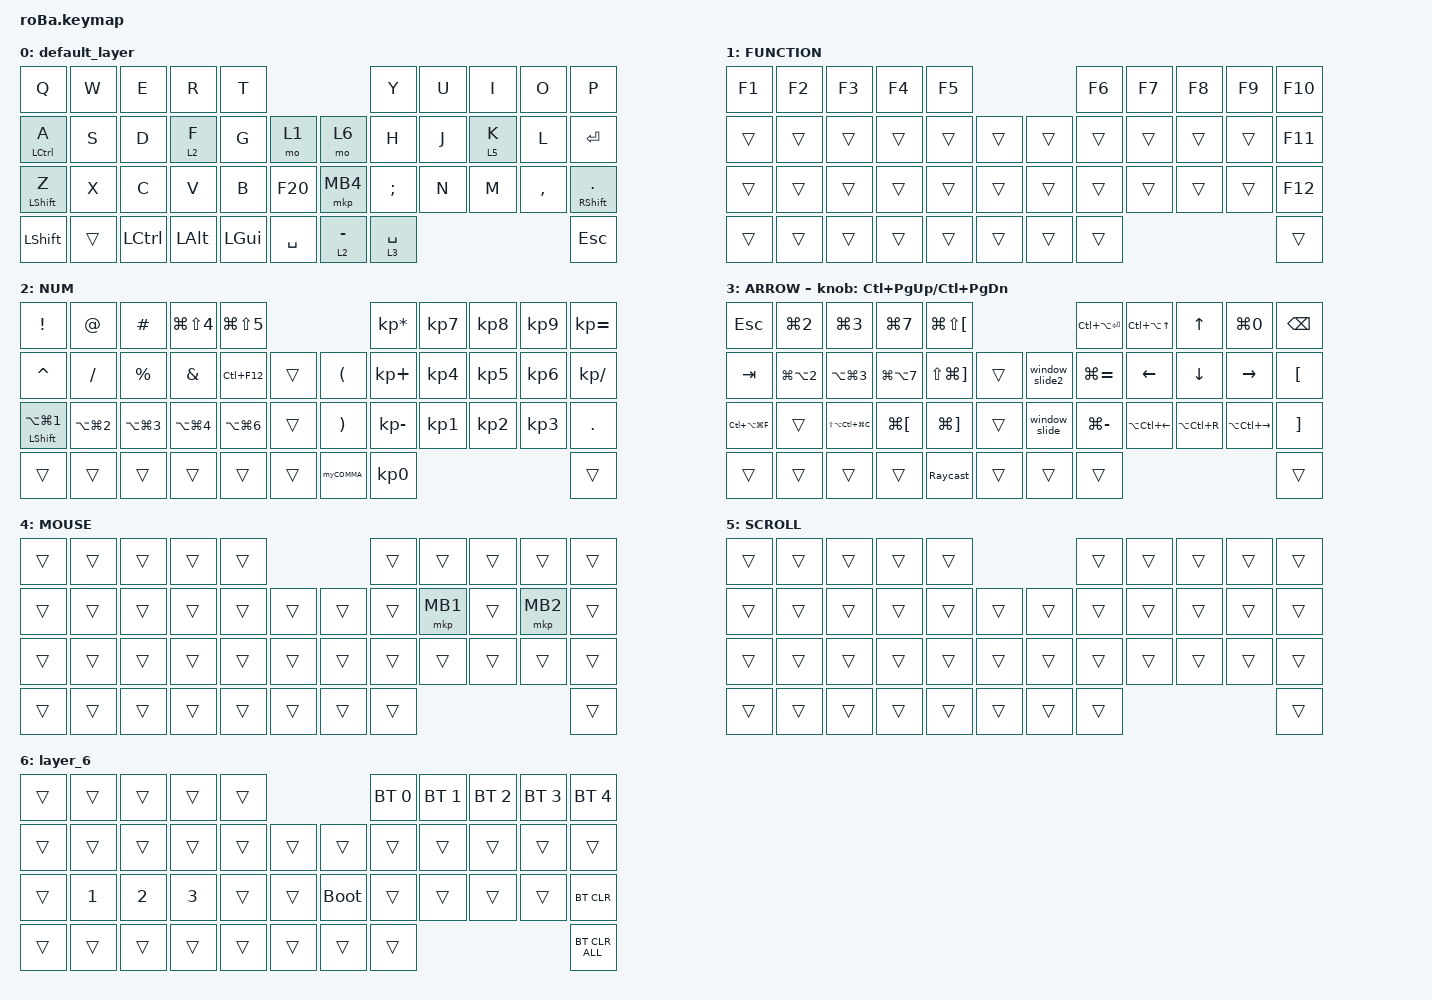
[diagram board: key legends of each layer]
#include <behaviors.dtsi>
#include <dt-bindings/zmk/bt.h>
#include <dt-bindings/zmk/keys.h>
#include <dt-bindings/zmk/pointing.h>

/* &mt や &lt のグローバル設定は、このように一番外側に書きます */
/* キーマップのトップレベル（一番外側）に追加 */

&mt {
    flavor = "tap-preferred";
    tapping-term-ms = <220>;
    quick-tap-ms = <150>;
    retro-tap;
};

&lt {
    flavor = "tap-preferred";
    tapping-term-ms = <220>;
    quick-tap-ms = <150>;
};

&trackball {
    automouse-layer = <4>;
    scroll-layers = <5>;
};

/ {
    combos {
        compatible = "zmk,combos";
        timeout-ms = <30>;

        window_right {
            bindings = <&kp LC(RIGHT_ARROW)>;
            key-positions = <12 13>;
        };

        window_left {
            bindings = <&kp LC(LEFT_ARROW)>;
            key-positions = <12 11>;
        };

        double_quotation {
            bindings = <&kp BACKSPACE>;
            key-positions = <8 9>;
        };

        kakko1 {
            bindings = <&myKakko1>;
            key-positions = <6 7>;
            layers = <0>;
        };

        kakko2 {
            bindings = <&myKakko2>;
            key-positions = <7 8>;
            layers = <0>;
        };

        question {
            bindings = <&kp SLASH>;
            key-positions = <32 31>;
            layers = <0>;
        };

        under {
            bindings = <&myUnder>;
            key-positions = <30 31>;
            layers = <0>;
        };

        semicoron {
            bindings = <&kp LS(SEMICOLON)>;
            key-positions = <20 21>;
        };

        lang2 {
            bindings = <&kp LANGUAGE_2>;
            key-positions = <19 20>;
        };

        lang1 {
            bindings = <&kp LANGUAGE_1>;
            key-positions = <19 18>;
        };
    };

    macros {
        to_layer_0: to_layer_0 {
            compatible = "zmk,behavior-macro-one-param";
            #binding-cells = <1>;
            bindings = <&to 0 &macro_param_1to1 &kp MACRO_PLACEHOLDER>;
            label = "TO_LAYER_0";
        };

        window_slide: window_slide {
            compatible = "zmk,behavior-macro";
            #binding-cells = <0>;
            bindings =
                <&kp LA(LC(LG(RIGHT_ARROW)))>,
                <&macro_wait_time 50>,
                <&kp LC(LA(RET))>;

            label = "WINDOW_SLIDE";
        };

        myCOMMA: myCOMMA {
            compatible = "zmk,behavior-macro";
            #binding-cells = <0>;
            bindings = <&kp LANGUAGE_2>, <&macro_wait_time 15>, <&kp COMMA>;

            label = "MYCOMMA";
        };

        myUnder: myUnder {
            compatible = "zmk,behavior-macro";
            #binding-cells = <0>;
            bindings = <&kp LANGUAGE_2>, <&macro_wait_time 15>, <&kp UNDER>;

            label = "MYUNDER";
        };

        myKakko1: myKakko1 {
            compatible = "zmk,behavior-macro";
            #binding-cells = <0>;
            bindings = <&kp LEFT_PARENTHESIS &kp RIGHT_PARENTHESIS>;
            label = "MYKAKKO1";
        };

        myKakko2: myKakko2 {
            compatible = "zmk,behavior-macro";
            #binding-cells = <0>;
            bindings = <&kp LEFT_BRACKET &kp RIGHT_BRACKET>;
            label = "MYKAKKO2";
        };

        myKakko3: my_kakko3 {
            compatible = "zmk,behavior-macro";
            #binding-cells = <0>;
            bindings = <&kp DOUBLE_QUOTES &kp DOUBLE_QUOTES>;
            label = "MY_KAKKO3";
        };

        window_slide2: window_slide2 {
            compatible = "zmk,behavior-macro";
            #binding-cells = <0>;
            bindings =
                <&kp LA(LC(LG(LEFT_ARROW)))>,
                <&macro_wait_time 50>,
                <&kp LC(LA(R))>;

            label = "WINDOW_SLIDE2";
        };

        alt_tab_stay: alt_tab_stay {
            compatible = "zmk,behavior-macro";
            #binding-cells = <0>;
            bindings =
                <&macro_press>,
                <&kp LEFT_ALT>,
                <&macro_tap>,
                <&kp TAB>,
                <&macro_pause_for_release>,
                <&macro_release>,
                <&kp LEFT_ALT>;

            label = "ALT_TAB_STAY";
        };

        Raycast: Raycast {
            compatible = "zmk,behavior-macro";
            #binding-cells = <0>;
            bindings =
                <&macro_press>,
                <&kp LEFT_ALT &kp LEFT_WIN>,
                <&macro_tap>,
                <&kp SPACE>,
                <&macro_release>,
                <&kp LEFT_ALT &kp LEFT_GUI>;

            label = "RAYCAST";
        };
    };

    behaviors {
        lt_to_layer_0: lt_to_layer_0 {
            compatible = "zmk,behavior-hold-tap";
            label = "LAYER_TAP_TO_0";
            bindings = <&mo>, <&to_layer_0>;

            #binding-cells = <2>;
            tapping-term-ms = <200>;
        };

        z_mt: z_mt {
            compatible = "zmk,behavior-hold-tap";
            label = "Z_MOD_TAP";
            #binding-cells = <2>;
            flavor = "tap-preferred";
            tapping-term-ms = <200>;
            quick-tap-ms = <150>;

            /* 前のキー入力から150ms以内は強制的にタップ(z)にする設定 */

            require-prior-idle-ms = <150>;
            bindings = <&kp>, <&kp>;
        };

        /* Aキー用の設定を追加 */

        a_mt: a_mt {
            compatible = "zmk,behavior-hold-tap";
            label = "A_MOD_TAP";
            #binding-cells = <2>;
            flavor = "tap-preferred";
            tapping-term-ms = <200>;
            quick-tap-ms = <150>;
            require-prior-idle-ms = <150>;
            bindings = <&kp>, <&kp>;
        };
    };

    keymap {
        compatible = "zmk,keymap";

        default_layer {
            bindings = <
&kp Q               &kp W   &kp E      &kp R         &kp T                                     &kp Y          &kp U  &kp I    &kp O      &kp P
&a_mt LCTRL A       &kp S   &kp D      &lt 2 F       &kp G         &mo 1          &mo 6        &kp H          &kp J  &lt 5 K  &kp L      &kp ENTER
&z_mt LEFT_SHIFT Z  &kp X   &kp C      &kp V         &kp B         &kp F20        &mkp MB4     &kp SEMICOLON  &kp N  &kp M    &kp COMMA  &mt RIGHT_SHIFT PERIOD
&kp LEFT_SHIFT      &trans  &kp LCTRL  &kp LEFT_ALT  &kp LEFT_GUI  &kp SPACE      &lt 2 MINUS  &lt 3 SPACE                               &kp ESC
            >;
        };

        FUNCTION {
            bindings = <
&kp F1  &kp F2  &kp F3  &kp F4  &kp F5                      &kp F6  &kp F7  &kp F8  &kp F9  &kp F10
&trans  &trans  &trans  &trans  &trans  &trans      &trans  &trans  &trans  &trans  &trans  &kp F11
&trans  &trans  &trans  &trans  &trans  &trans      &trans  &trans  &trans  &trans  &trans  &kp F12
&trans  &trans  &trans  &trans  &trans  &trans      &trans  &trans                          &trans
            >;
        };

        NUM {
            bindings = <
&kp EXCLAMATION                  &kp AT_SIGN           &kp HASH              &kp LG(LS(NUMBER_4))  &kp LG(LS(N5))                                           &kp KP_MULTIPLY  &kp KP_NUMBER_7  &kp KP_NUMBER_8  &kp KP_NUMBER_9  &kp KP_EQUAL
&kp CARET                        &kp SLASH             &kp PERCENT           &kp AMPERSAND         &kp LC(F12)           &trans      &kp LEFT_PARENTHESIS   &kp KP_PLUS      &kp KP_NUMBER_4  &kp KP_NUMBER_5  &kp KP_NUMBER_6  &kp KP_DIVIDE
&mt LEFT_SHIFT LA(LG(NUMBER_1))  &kp LA(LG(NUMBER_2))  &kp LA(LG(NUMBER_3))  &kp LA(LG(NUMBER_4))  &kp LA(LG(NUMBER_6))  &trans      &kp RIGHT_PARENTHESIS  &kp KP_MINUS     &kp KP_NUMBER_1  &kp KP_NUMBER_2  &kp KP_NUMBER_3  &kp DOT
&trans                           &trans                &trans                &trans                &trans                &trans      &myCOMMA               &kp KP_NUMBER_0                                                     &trans
            >;
        };

        ARROW {
            bindings = <
&kp ESCAPE         &kp LG(NUMBER_2)      &kp LG(NUMBER_3)       &kp LG(N7)      &kp LG(LS(LEFT_BRACKET))                               &kp LC(LA(RET))  &kp LC(LA(UP_ARROW))    &kp UP_ARROW    &kp LG(NUMBER_0)         &kp BACKSPACE
&kp TAB            &kp LG(LA(NUMBER_2))  &kp LA(LG(NUMBER_3))   &kp LG(LA(N7))  &kp LS(LG(RIGHT_BRACKET))  &trans      &window_slide2  &kp LG(EQUAL)    &kp LEFT_ARROW          &kp DOWN_ARROW  &kp RIGHT_ARROW          &kp LEFT_BRACKET
&kp LC(LA(LG(F)))  &trans                &kp LS(LA(LC(LG(C))))  &kp LG(LBKT)    &kp LG(RBKT)               &trans      &window_slide   &kp LG(MINUS)    &kp LA(LC(LEFT_ARROW))  &kp LA(LC(R))   &kp LA(LC(RIGHT_ARROW))  &kp RIGHT_BRACKET
&trans             &trans                &trans                 &trans          &Raycast                   &trans      &trans          &trans                                                                            &trans
            >;

            sensor-bindings = <&inc_dec_kp LC(PAGE_UP) LC(PAGE_DOWN)>;
        };

        MOUSE {
            bindings = <
&trans  &trans  &trans  &trans  &trans                      &trans  &trans    &trans  &trans    &trans
&trans  &trans  &trans  &trans  &trans  &trans      &trans  &trans  &mkp MB1  &trans  &mkp MB2  &trans
&trans  &trans  &trans  &trans  &trans  &trans      &trans  &trans  &trans    &trans  &trans    &trans
&trans  &trans  &trans  &trans  &trans  &trans      &trans  &trans                              &trans
            >;
        };

        SCROLL {
            bindings = <
&trans  &trans  &trans  &trans  &trans                      &trans  &trans  &trans  &trans  &trans
&trans  &trans  &trans  &trans  &trans  &trans      &trans  &trans  &trans  &trans  &trans  &trans
&trans  &trans  &trans  &trans  &trans  &trans      &trans  &trans  &trans  &trans  &trans  &trans
&trans  &trans  &trans  &trans  &trans  &trans      &trans  &trans                          &trans
            >;
        };

        layer_6 {
            bindings = <
&trans  &trans        &trans        &trans        &trans                           &bt BT_SEL 0  &bt BT_SEL 1  &bt BT_SEL 2  &bt BT_SEL 3  &bt BT_SEL 4
&trans  &trans        &trans        &trans        &trans  &trans      &trans       &trans        &trans        &trans        &trans        &trans
&trans  &kp NUMBER_1  &kp NUMBER_2  &kp NUMBER_3  &trans  &trans      &bootloader  &trans        &trans        &trans        &trans        &bt BT_CLR
&trans  &trans        &trans        &trans        &trans  &trans      &trans       &trans                                                  &bt BT_CLR_ALL
            >;
        };
    };
};
